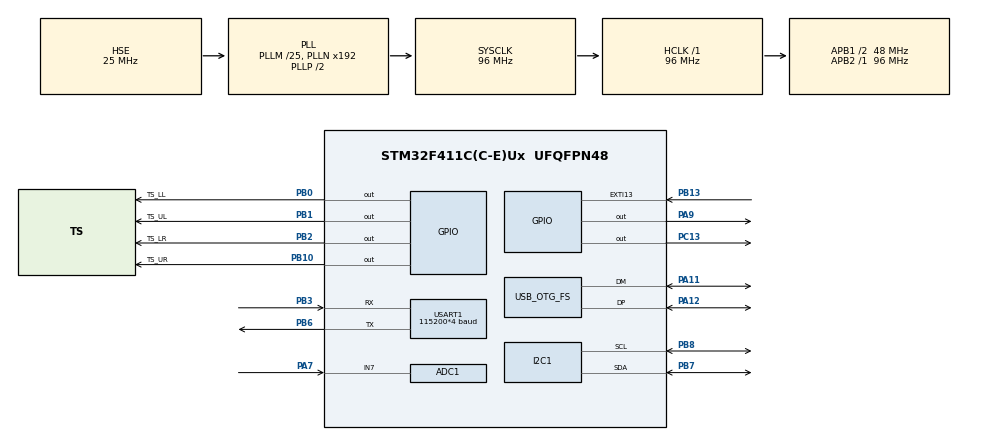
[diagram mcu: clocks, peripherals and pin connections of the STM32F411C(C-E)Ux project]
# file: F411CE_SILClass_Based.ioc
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ADC1.Channel-1\#ChannelRegularConversion=ADC_CHANNEL_7
ADC1.ContinuousConvMode=ENABLE
ADC1.DMAContinuousRequests=ENABLE
ADC1.EOCSelection=ADC_EOC_SEQ_CONV
ADC1.NbrOfConversion=1
ADC1.NbrOfConversionFlag=1
ADC1.Rank-1\#ChannelRegularConversion=1
ADC1.SamplingTime-1\#ChannelRegularConversion=ADC_SAMPLETIME_3CYCLES
ADC1.master=1
Dma.ADC1.2.Direction=DMA_PERIPH_TO_MEMORY
Dma.ADC1.2.FIFOMode=DMA_FIFOMODE_DISABLE
Dma.ADC1.2.Instance=DMA2_Stream0
Dma.ADC1.2.MemDataAlignment=DMA_MDATAALIGN_HALFWORD
Dma.ADC1.2.MemInc=DMA_MINC_ENABLE
Dma.ADC1.2.Mode=DMA_NORMAL
Dma.ADC1.2.PeriphDataAlignment=DMA_PDATAALIGN_HALFWORD
Dma.ADC1.2.PeriphInc=DMA_PINC_DISABLE
Dma.ADC1.2.Priority=DMA_PRIORITY_LOW
Dma.I2C1_RX.1.Direction=DMA_PERIPH_TO_MEMORY
Dma.I2C1_RX.1.FIFOMode=DMA_FIFOMODE_DISABLE
Dma.I2C1_RX.1.Instance=DMA1_Stream0
Dma.I2C1_RX.1.MemDataAlignment=DMA_MDATAALIGN_BYTE
Dma.I2C1_RX.1.MemInc=DMA_MINC_ENABLE
Dma.I2C1_RX.1.Mode=DMA_NORMAL
Dma.I2C1_RX.1.PeriphDataAlignment=DMA_PDATAALIGN_BYTE
Dma.I2C1_RX.1.PeriphInc=DMA_PINC_DISABLE
Dma.I2C1_RX.1.Priority=DMA_PRIORITY_LOW
Dma.Request0=USART1_TX
Dma.Request1=I2C1_RX
Dma.Request2=ADC1
Dma.USART1_TX.0.Direction=DMA_MEMORY_TO_PERIPH
Dma.USART1_TX.0.FIFOMode=DMA_FIFOMODE_DISABLE
Dma.USART1_TX.0.Instance=DMA2_Stream7
Dma.USART1_TX.0.MemDataAlignment=DMA_MDATAALIGN_BYTE
Dma.USART1_TX.0.MemInc=DMA_MINC_ENABLE
Dma.USART1_TX.0.Mode=DMA_NORMAL
Dma.USART1_TX.0.PeriphDataAlignment=DMA_PDATAALIGN_BYTE
Dma.USART1_TX.0.PeriphInc=DMA_PINC_DISABLE
Dma.USART1_TX.0.Priority=DMA_PRIORITY_VERY_HIGH
Mcu.Family=STM32F4
Mcu.Name=STM32F411C(C-E)Ux
Mcu.Package=UFQFPN48
NVIC.DMA1_Stream0_IRQn=true\:0\:0\:false\:false\:true\:false\:true
NVIC.DMA2_Stream0_IRQn=true\:0\:0\:false\:false\:true\:false\:true
NVIC.DMA2_Stream7_IRQn=true\:0\:0\:false\:false\:true\:false\:true
NVIC.EXTI15_10_IRQn=true\:1\:0\:true\:false\:true\:true\:true
NVIC.I2C1_ER_IRQn=true\:0\:0\:false\:false\:true\:true\:true
NVIC.I2C1_EV_IRQn=true\:0\:0\:true\:false\:true\:true\:true
NVIC.OTG_FS_IRQn=true\:0\:0\:false\:false\:true\:false\:true
NVIC.PriorityGroup=NVIC_PRIORITYGROUP_4
NVIC.TIM1_TRG_COM_TIM11_IRQn=true\:0\:0\:false\:false\:true\:true\:true
NVIC.TIM1_UP_TIM10_IRQn=true\:3\:0\:true\:false\:true\:true\:true
NVIC.USART1_IRQn=true\:1\:0\:true\:false\:true\:true\:true
PA11.Mode=Device_Only
PA11.Signal=USB_OTG_FS_DM
PA12.Mode=Device_Only
PA12.Signal=USB_OTG_FS_DP
PA13.Mode=Serial_Wire
PA13.Signal=SYS_JTMS-SWDIO
PA14.Mode=Serial_Wire
PA14.Signal=SYS_JTCK-SWCLK
PA7.Signal=ADCx_IN7
PA9.Signal=GPIO_Output
PB0.GPIO_Label=TS_LL
PB0.Signal=GPIO_Output
PB1.GPIO_Label=TS_UL
PB1.Signal=GPIO_Output
PB10.GPIO_Label=TS_UR
PB10.Signal=GPIO_Output
PB13.GPIO_ModeDefaultEXTI=GPIO_MODE_IT_FALLING
PB13.GPIO_PuPd=GPIO_PULLDOWN
PB13.Signal=GPXTI13
PB2.GPIO_Label=TS_LR
PB2.Signal=GPIO_Output
PB3.Mode=Asynchronous
PB3.Signal=USART1_RX
PB6.Mode=Asynchronous
PB6.Signal=USART1_TX
PB7.Mode=I2C
PB7.Signal=I2C1_SDA
PB8.Mode=I2C
PB8.Signal=I2C1_SCL
PC13-ANTI_TAMP.Signal=GPIO_Output
PH0\ -\ OSC_IN.Mode=HSE-External-Oscillator
PH0\ -\ OSC_IN.Signal=RCC_OSC_IN
PH1\ -\ OSC_OUT.Mode=HSE-External-Oscillator
PH1\ -\ OSC_OUT.Signal=RCC_OSC_OUT
ProjectManager.HeapSize=0x200
ProjectManager.StackSize=0x400
ProjectManager.TargetToolchain=STM32CubeIDE
RCC.48MHZClocksFreq_Value=48000000
RCC.AHBFreq_Value=96000000
RCC.APB1CLKDivider=RCC_HCLK_DIV2
RCC.APB1Freq_Value=48000000
RCC.APB1TimFreq_Value=96000000
RCC.APB2Freq_Value=96000000
RCC.APB2TimFreq_Value=96000000
RCC.CortexFreq_Value=96000000
RCC.HCLKFreq_Value=96000000
RCC.HSE_VALUE=25000000
RCC.HSI_VALUE=16000000
RCC.LSE_VALUE=32768
RCC.PLLM=25
RCC.SYSCLKFreq_VALUE=96000000
RCC.SYSCLKSource=RCC_SYSCLKSOURCE_PLLCLK
RCC.VCOOutputFreq_Value=192000000
SH.ADCx_IN7.0=ADC1_IN7,IN7
TIM10.Period=150-1
TIM10.Prescaler=96-1
TIM11.Period=10000 - 1
TIM11.Prescaler=96 - 1
TIM9.Prescaler=96-1
USART1.BaudRate=115200*4
USART1.VirtualMode=VM_ASYNC
USB_DEVICE.CLASS_NAME_FS=CDC
USB_DEVICE.VirtualMode=Cdc
USB_DEVICE.VirtualModeFS=Cdc_FS
USB_OTG_FS.VirtualMode=Device_Only
VP_TIM10_VS_ClockSourceINT.Mode=Enable_Timer
VP_TIM11_VS_ClockSourceINT.Mode=Enable_Timer
VP_TIM5_VS_ClockSourceINT.Mode=Internal
VP_TIM9_VS_ClockSourceINT.Mode=Internal
VP_USB_DEVICE_VS_USB_DEVICE_CDC_FS.Mode=CDC_FS
board=custom

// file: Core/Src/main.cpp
/* USER CODE BEGIN Header */
/**
  ******************************************************************************
  * @file           : main.c
  * @brief          : Main program body
  ******************************************************************************
  * @attention
  *
  * Copyright (c) 2022 STMicroelectronics.
  * All rights reserved.
  *
  * This software is licensed under terms that can be found in the LICENSE file
  * in the root directory of this software component.
  * If no LICENSE file comes with this software, it is provided AS-IS.
  *
  ******************************************************************************
  */
/* USER CODE END Header */
#include "main.h"
#include "usb_device.h"
/* USER CODE BEGIN Includes */

//Official Libraries
#include <iostream>
using namespace std;
#include <math.h>

//Driver Files
#include "IMUDriver.hpp"
#include "TouchscreenDriver.hpp"

/* USER CODE END Includes */

/* USER CODE BEGIN PD */

// Touchscreen Definitions:
#define Pin_LL GPIO_PIN_0
#define Port_LL GPIOB

#define Pin_UL GPIO_PIN_1
#define Port_UL GPIOB

#define Pin_LR GPIO_PIN_2
#define Port_LR GPIOB

#define Pin_UR GPIO_PIN_10
#define Port_UR GPIOB

/* USER CODE END PD */

ADC_HandleTypeDef hadc1;
DMA_HandleTypeDef hdma_adc1;

I2C_HandleTypeDef hi2c1;
DMA_HandleTypeDef hdma_i2c1_rx;

TIM_HandleTypeDef htim5;
TIM_HandleTypeDef htim9;
TIM_HandleTypeDef htim10;
TIM_HandleTypeDef htim11;

UART_HandleTypeDef huart1;
DMA_HandleTypeDef hdma_usart1_tx;
DMA_HandleTypeDef hdma_usart1_rx;

void SystemClock_Config(void);
static void MX_GPIO_Init(void);
static void MX_USART1_UART_Init(void);
static void MX_ADC1_Init(void);
static void MX_I2C1_Init(void);
static void MX_TIM11_Init(void);
static void MX_TIM9_Init(void);
static void MX_TIM5_Init(void);
static void MX_DMA_Init(void);
static void MX_TIM10_Init(void);
/* USER CODE BEGIN PFP */
void UserInterface(void);
void CommunicationResponse(float xposTS, float xvelTS, float yposTS, float yvelTS, float IMUx, float GyroX,
						   float IMUy, float GyroY);
/* USER CODE END PFP */

/* USER CODE BEGIN 0 */
namespace GlobalVars
{
	//Logic Flags:
	uint8_t mainstate = 0;
	uint8_t timeconsistency = 0; //Timing check
	uint8_t IMUflg = 0;
	uint8_t RunState = 0;

	//System:
	float m0tor = 0; //Values that
	float m1tor = 0;

	//Encoder Zero Position
	float enc_axis0zero = 0;
	float enc_axis1zero = 0;

}

// Communication variables
extern uint8_t buffer[64]; //receive buffer from USB
char UARTstr[64] = {0}; //for messages to send through UART
char strUSB[100] = {0}; //for messages to send through UART
char message[64] = {0}; //for message to send to PC

//Define array of touchscreen pins required:
static uint32_t pinarray[] = {Pin_LL, Pin_UL, Pin_LR, Pin_UR, GPIO_PIN_13};
static GPIO_TypeDef* pinport[] = {Port_LL, Port_UL, Port_LR, Port_UR, GPIOC};

//Initialize IMU Class
IMUDriver imu (&hi2c1, &htim11);

//Initialize Touchscreen Class
TouchscreenDriver TS (&hadc1, &htim10, &htim9, pinarray, pinport); //try passing handlers into class

/* USER CODE END 0 */

int main(void)
{

  /* MCU Configuration--------------------------------------------------------*/

  /* Reset of all peripherals, Initializes the Flash interface and the Systick. */
  HAL_Init();

  /* Configure the system clock */
  SystemClock_Config();

  /* Initialize all configured peripherals */
  MX_GPIO_Init();
  MX_USB_DEVICE_Init();
  MX_DMA_Init();
  MX_USART1_UART_Init();
  MX_ADC1_Init();
  MX_I2C1_Init();
  MX_TIM11_Init();
  MX_TIM9_Init();
  MX_TIM5_Init();
  MX_TIM10_Init();
  /* USER CODE BEGIN 2 */

  HAL_Delay(5000); //For debugging

  //Initialize IMU Class
  imu.Initialization();

  //Run User Interface Code until platform is ready to operate (while loop inside):
  UserInterface();

  //Initialize Touchscreen Class
  TS.Initialization();

  /* USER CODE END 2 */

  /* Infinite loop */
  /* USER CODE BEGIN WHILE */
  while (1)
  {

	  //Test for ADC buf handling
	  if(TS.tsflg == 1)
	  {
		  TS.ProcessPositionData();
		  TS.tsflg = 0;
	  }

	  /* USER CODE END WHILE */

  }
}

void SystemClock_Config(void)
{
  RCC_OscInitTypeDef RCC_OscInitStruct = {0};
  RCC_ClkInitTypeDef RCC_ClkInitStruct = {0};

  /** Configure the main internal regulator output voltage
  */
  __HAL_RCC_PWR_CLK_ENABLE();
  __HAL_PWR_VOLTAGESCALING_CONFIG(PWR_REGULATOR_VOLTAGE_SCALE1);
  /** Initializes the RCC Oscillators according to the specified parameters
  * in the RCC_OscInitTypeDef structure.
  */
  RCC_OscInitStruct.OscillatorType = RCC_OSCILLATORTYPE_HSE;
  RCC_OscInitStruct.HSEState = RCC_HSE_ON;
  RCC_OscInitStruct.PLL.PLLState = RCC_PLL_ON;
  RCC_OscInitStruct.PLL.PLLSource = RCC_PLLSOURCE_HSE;
  RCC_OscInitStruct.PLL.PLLM = 25;
  RCC_OscInitStruct.PLL.PLLN = 192;
  RCC_OscInitStruct.PLL.PLLP = RCC_PLLP_DIV2;
  RCC_OscInitStruct.PLL.PLLQ = 4;
  if (HAL_RCC_OscConfig(&RCC_OscInitStruct) != HAL_OK)
  {
    Error_Handler();
  }
  /** Initializes the CPU, AHB and APB buses clocks
  */
  RCC_ClkInitStruct.ClockType = RCC_CLOCKTYPE_HCLK|RCC_CLOCKTYPE_SYSCLK
                              |RCC_CLOCKTYPE_PCLK1|RCC_CLOCKTYPE_PCLK2;
  RCC_ClkInitStruct.SYSCLKSource = RCC_SYSCLKSOURCE_PLLCLK;
  RCC_ClkInitStruct.AHBCLKDivider = RCC_SYSCLK_DIV1;
  RCC_ClkInitStruct.APB1CLKDivider = RCC_HCLK_DIV2;
  RCC_ClkInitStruct.APB2CLKDivider = RCC_HCLK_DIV1;

  if (HAL_RCC_ClockConfig(&RCC_ClkInitStruct, FLASH_LATENCY_3) != HAL_OK)
  {
    Error_Handler();
  }
}

static void MX_ADC1_Init(void)
{

	  ADC_ChannelConfTypeDef sConfig = {0};

	  /** Configure the global features of the ADC (Clock, Resolution, Data Alignment and number of conversion)
	  */
	  hadc1.Instance = ADC1;
	  hadc1.Init.ClockPrescaler = ADC_CLOCK_SYNC_PCLK_DIV4;
	  hadc1.Init.Resolution = ADC_RESOLUTION_12B;
	  hadc1.Init.ScanConvMode = DISABLE;
	  hadc1.Init.ContinuousConvMode = ENABLE;
	  hadc1.Init.DiscontinuousConvMode = DISABLE;
	  hadc1.Init.ExternalTrigConvEdge = ADC_EXTERNALTRIGCONVEDGE_NONE;
	  hadc1.Init.ExternalTrigConv = ADC_SOFTWARE_START;
	  hadc1.Init.DataAlign = ADC_DATAALIGN_RIGHT;
	  hadc1.Init.NbrOfConversion = 1;
	  hadc1.Init.DMAContinuousRequests = ENABLE;
	  hadc1.Init.EOCSelection = ADC_EOC_SEQ_CONV;
	  if (HAL_ADC_Init(&hadc1) != HAL_OK)
	  {
	    Error_Handler();
	  }
	  /** Configure for the selected ADC regular channel its corresponding rank in the sequencer and its sample time.
	  */
	  sConfig.Channel = ADC_CHANNEL_7;
	  sConfig.Rank = 1;
	  sConfig.SamplingTime = ADC_SAMPLETIME_3CYCLES;
	  if (HAL_ADC_ConfigChannel(&hadc1, &sConfig) != HAL_OK)
	  {
	    Error_Handler();
	  }

}

static void MX_I2C1_Init(void)
{

  hi2c1.Instance = I2C1;
  hi2c1.Init.ClockSpeed = 100000;
  hi2c1.Init.DutyCycle = I2C_DUTYCYCLE_2;
  hi2c1.Init.OwnAddress1 = 0;
  hi2c1.Init.AddressingMode = I2C_ADDRESSINGMODE_7BIT;
  hi2c1.Init.DualAddressMode = I2C_DUALADDRESS_DISABLE;
  hi2c1.Init.OwnAddress2 = 0;
  hi2c1.Init.GeneralCallMode = I2C_GENERALCALL_DISABLE;
  hi2c1.Init.NoStretchMode = I2C_NOSTRETCH_DISABLE;
  if (HAL_I2C_Init(&hi2c1) != HAL_OK)
  {
    Error_Handler();
  }

}

static void MX_TIM5_Init(void)
{

  TIM_ClockConfigTypeDef sClockSourceConfig = {0};
  TIM_MasterConfigTypeDef sMasterConfig = {0};

  htim5.Instance = TIM5;
  htim5.Init.Prescaler = 0;
  htim5.Init.CounterMode = TIM_COUNTERMODE_UP;
  htim5.Init.Period = 4294967295;
  htim5.Init.ClockDivision = TIM_CLOCKDIVISION_DIV1;
  htim5.Init.AutoReloadPreload = TIM_AUTORELOAD_PRELOAD_DISABLE;
  if (HAL_TIM_Base_Init(&htim5) != HAL_OK)
  {
    Error_Handler();
  }
  sClockSourceConfig.ClockSource = TIM_CLOCKSOURCE_INTERNAL;
  if (HAL_TIM_ConfigClockSource(&htim5, &sClockSourceConfig) != HAL_OK)
  {
    Error_Handler();
  }
  sMasterConfig.MasterOutputTrigger = TIM_TRGO_RESET;
  sMasterConfig.MasterSlaveMode = TIM_MASTERSLAVEMODE_DISABLE;
  if (HAL_TIMEx_MasterConfigSynchronization(&htim5, &sMasterConfig) != HAL_OK)
  {
    Error_Handler();
  }

}

static void MX_TIM9_Init(void)
{

  TIM_ClockConfigTypeDef sClockSourceConfig = {0};

  htim9.Instance = TIM9;
  htim9.Init.Prescaler = 96-1;
  htim9.Init.CounterMode = TIM_COUNTERMODE_UP;
  htim9.Init.Period = 65535;
  htim9.Init.ClockDivision = TIM_CLOCKDIVISION_DIV1;
  htim9.Init.AutoReloadPreload = TIM_AUTORELOAD_PRELOAD_DISABLE;
  if (HAL_TIM_Base_Init(&htim9) != HAL_OK)
  {
    Error_Handler();
  }
  sClockSourceConfig.ClockSource = TIM_CLOCKSOURCE_INTERNAL;
  if (HAL_TIM_ConfigClockSource(&htim9, &sClockSourceConfig) != HAL_OK)
  {
    Error_Handler();
  }

}

static void MX_TIM10_Init(void)
{

  htim10.Instance = TIM10;
  htim10.Init.Prescaler = 96-1;
  htim10.Init.CounterMode = TIM_COUNTERMODE_UP;
  htim10.Init.Period = 150-1;
  htim10.Init.ClockDivision = TIM_CLOCKDIVISION_DIV1;
  htim10.Init.AutoReloadPreload = TIM_AUTORELOAD_PRELOAD_DISABLE;
  if (HAL_TIM_Base_Init(&htim10) != HAL_OK)
  {
    Error_Handler();
  }

}

static void MX_TIM11_Init(void)
{

  htim11.Instance = TIM11;
  htim11.Init.Prescaler = 96 - 1;
  htim11.Init.CounterMode = TIM_COUNTERMODE_UP;
  htim11.Init.Period = 10000 - 1;
  htim11.Init.ClockDivision = TIM_CLOCKDIVISION_DIV1;
  htim11.Init.AutoReloadPreload = TIM_AUTORELOAD_PRELOAD_DISABLE;
  if (HAL_TIM_Base_Init(&htim11) != HAL_OK)
  {
    Error_Handler();
  }

}

static void MX_USART1_UART_Init(void)
{

  huart1.Instance = USART1;
  huart1.Init.BaudRate = 115200;
  huart1.Init.WordLength = UART_WORDLENGTH_8B;
  huart1.Init.StopBits = UART_STOPBITS_1;
  huart1.Init.Parity = UART_PARITY_NONE;
  huart1.Init.Mode = UART_MODE_TX_RX;
  huart1.Init.HwFlowCtl = UART_HWCONTROL_NONE;
  huart1.Init.OverSampling = UART_OVERSAMPLING_16;
  if (HAL_UART_Init(&huart1) != HAL_OK)
  {
    Error_Handler();
  }

}

static void MX_DMA_Init(void)
{

	/* DMA controller clock enable */
	__HAL_RCC_DMA2_CLK_ENABLE();
	__HAL_RCC_DMA1_CLK_ENABLE();

	/* DMA interrupt init */
	/* DMA1_Stream0_IRQn interrupt configuration */
	HAL_NVIC_SetPriority(DMA1_Stream0_IRQn, 0, 0);
	HAL_NVIC_EnableIRQ(DMA1_Stream0_IRQn);
	/* DMA2_Stream0_IRQn interrupt configuration */
	HAL_NVIC_SetPriority(DMA2_Stream0_IRQn, 0, 0);
	HAL_NVIC_EnableIRQ(DMA2_Stream0_IRQn);
	/* DMA2_Stream7_IRQn interrupt configuration */
	HAL_NVIC_SetPriority(DMA2_Stream7_IRQn, 0, 0);
	HAL_NVIC_EnableIRQ(DMA2_Stream7_IRQn);

}

static void MX_GPIO_Init(void)
{
  GPIO_InitTypeDef GPIO_InitStruct = {0};

  /* GPIO Ports Clock Enable */
  __HAL_RCC_GPIOC_CLK_ENABLE();
  __HAL_RCC_GPIOH_CLK_ENABLE();
  __HAL_RCC_GPIOA_CLK_ENABLE();
  __HAL_RCC_GPIOB_CLK_ENABLE();

  /*Configure GPIO pin Output Level */
  HAL_GPIO_WritePin(GPIOC, GPIO_PIN_13, GPIO_PIN_SET);

  /*Configure GPIO pin Output Level */
  HAL_GPIO_WritePin(GPIOB, GPIO_PIN_0|GPIO_PIN_1|GPIO_PIN_2|GPIO_PIN_10, GPIO_PIN_RESET);

  /*Configure GPIO pin Output Level */
  HAL_GPIO_WritePin(GPIOA, GPIO_PIN_9, GPIO_PIN_RESET);

  /*Configure GPIO pin : PC13 */
  GPIO_InitStruct.Pin = GPIO_PIN_13;
  GPIO_InitStruct.Mode = GPIO_MODE_OUTPUT_PP;
  GPIO_InitStruct.Pull = GPIO_NOPULL;
  GPIO_InitStruct.Speed = GPIO_SPEED_FREQ_LOW;
  HAL_GPIO_Init(GPIOC, &GPIO_InitStruct);

  /*Configure GPIO pins : PB0 PB1 PB2 PB10 */
  GPIO_InitStruct.Pin = GPIO_PIN_0|GPIO_PIN_1|GPIO_PIN_2|GPIO_PIN_10;
  GPIO_InitStruct.Mode = GPIO_MODE_OUTPUT_PP;
  GPIO_InitStruct.Pull = GPIO_NOPULL;
  GPIO_InitStruct.Speed = GPIO_SPEED_FREQ_LOW;
  HAL_GPIO_Init(GPIOB, &GPIO_InitStruct);

  /*Configure GPIO pin : PB13 */
  GPIO_InitStruct.Pin = GPIO_PIN_13;
  GPIO_InitStruct.Mode = GPIO_MODE_IT_FALLING;
  GPIO_InitStruct.Pull = GPIO_PULLDOWN;
  HAL_GPIO_Init(GPIOB, &GPIO_InitStruct);

  /*Configure GPIO pin : PA9 */
  GPIO_InitStruct.Pin = GPIO_PIN_9;
  GPIO_InitStruct.Mode = GPIO_MODE_OUTPUT_PP;
  GPIO_InitStruct.Pull = GPIO_NOPULL;
  GPIO_InitStruct.Speed = GPIO_SPEED_FREQ_LOW;
  HAL_GPIO_Init(GPIOA, &GPIO_InitStruct);

  /* EXTI interrupt init*/
  HAL_NVIC_SetPriority(EXTI15_10_IRQn, 1, 0);
  HAL_NVIC_EnableIRQ(EXTI15_10_IRQn);

}

/* USER CODE BEGIN 4 */

//==============Callbacks=================//

//Timer channel callbacks for Touchscreen Settling Time Delay (100-150 us) and IMU Refresh Rate Delay (10 ms)
void HAL_TIM_PeriodElapsedCallback(TIM_HandleTypeDef *htim)
{
	//Touchscreen Switching Interrupt
	if(htim == &htim10)
	{
		TS.TIM_Callback();
	}
	else if(htim == &htim11) //IMU Timing Interrupt
	{
		imu.PollOrientation();
	}

}

// Called when ADC buffer is completely filled
void HAL_ADC_ConvCpltCallback(ADC_HandleTypeDef* hadc) {

	if(hadc == &hadc1)
	{
		//Toggle the touchscreen to read the opposite direction (x->y or y->x)
		TS.ADC_Callback();
	}

}

//Called when USB buffer receives value from MATLAB script
void HAL_GPIO_EXTI_Callback(uint16_t GPIO_Pin)
{
	if(GlobalVars::RunState == 0)
	{
		//Do Nothing
	}
	else
	{
		CommunicationResponse(TS.xpos, TS.xvel, TS.ypos, TS.yvel, imu.EulerX, imu.AngularVelX, imu.EulerY, imu.AngularVelY);
	}

}

//Called when I2C completed.
void HAL_I2C_MemRxCpltCallback(I2C_HandleTypeDef *hi2c)
{

	imu.ConvertOrientation(); //Attempt this

}

//===================Additional Functions======================//

void CommunicationResponse(float xposTS, float xvelTS, float yposTS, float yvelTS, float IMUx, float GyroX,
						   float IMUy, float GyroY)
{
	// For processing string
	static char delim[] = " ";
	char *ptr;

	char ODrivemessage[100] = {0}; //Messages that need to be sent to the ODrive

	if (buffer[0] == 'r') //Check if received reset command from host
	{

		memset(buffer, '\0', 64);  // clear the buffer for next message

		//=====Remove errors on each axis for endstop
		sprintf(ODrivemessage, "w axis0.error 0\nw axis1.error 0\n"); //Clear ODrive errors that could have occurred from endstop.
		ODrivemessage[strlen(ODrivemessage)+1] = '\0';
		HAL_UART_Transmit_DMA(&huart1,(uint8_t *) ODrivemessage, strlen(ODrivemessage)); //Transmit Message over UART

		HAL_Delay(10); //Give time to process commands

		//=====Put each axis into position control mode
		sprintf(ODrivemessage, "w axis0.controller.config.control_mode 3\naxis1.controller.config.control_mode 3\n"); //Clear ODrive errors that could have occurred from endstop.
		ODrivemessage[strlen(ODrivemessage)+1] = '\0';
		HAL_UART_Transmit_DMA(&huart1,(uint8_t *) ODrivemessage, strlen(ODrivemessage)); //Transmit Message over UART

		HAL_Delay(10); //Give time to process commands

		//Start closed-loop control
		sprintf(ODrivemessage, "w axis0.requested_state 8\nw axis1.requested_state 8\n"); //request motor parameters from axis 0
		ODrivemessage[strlen(ODrivemessage)+1] = '\0';
		HAL_UART_Transmit_DMA(&huart1,(uint8_t *) ODrivemessage, strlen(ODrivemessage)); //Transmit Message over UART

		HAL_Delay(5);

		//Set position to zeroed position
		sprintf(ODrivemessage, "q 0 %.4f\nq 1 %.4f\n", GlobalVars::enc_axis0zero, GlobalVars::enc_axis1zero); //request motor parameters from axis 0
		ODrivemessage[strlen(ODrivemessage)+1] = '\0';
		HAL_UART_Transmit_DMA(&huart1,(uint8_t *) ODrivemessage, strlen(ODrivemessage)); //Transmit Message over UART

		CDC_Transmit_FS((uint8_t *) ODrivemessage, strlen(ODrivemessage));

		HAL_Delay(5);

	}
	else
	{

		//============USB SEND FIRST===============//

		if (GlobalVars::timeconsistency == 1) //Verify that MATLAB model and STM32 have full parity (Check to ensure new messages are getting through)
		{
			GlobalVars::timeconsistency = 0;
		} else {
			GlobalVars::timeconsistency = 1;
		}

		//Stretch what an Interrupt can do to see what's possible
		sprintf(strUSB,"%.2f %.2f %.2f %.2f %.2f %.2f %.2f %.2f %u \n",
				xposTS, xvelTS, yposTS, yvelTS, IMUx, GyroX, IMUy,
				GyroY, GlobalVars::timeconsistency);

		strUSB[strlen(strUSB)+1] = '\0'; //ASCII NULL to terminate string
		//
		//	//To get message to have constant length for reliable MATLAB decoding... definitely should change/figure out header
		//	for (int i = strlen(strUSB);i<77;++i)
		//	{
		//		strUSB[i] = ' ';
		//	}
		//
		//	strUSB[77] = '\n';

		CDC_Transmit_FS((uint8_t *) strUSB, strlen(strUSB));

		//============UART SEND============//

		if (buffer[0] != '\0') //Double-Check if USB buffer has received message from Host PC
		{

			memcpy(message,buffer,sizeof(message));

			memset(buffer, '\0', 64);  // clear the buffer for next message

			//Now, process message:

			ptr = strtok(message, delim); //Initial cut, should isolate for first

			GlobalVars::m0tor = atof(ptr); //Double check this is correct due to motor axis change

			ptr = strtok(NULL,delim); //Iterate to next section of message

			GlobalVars::m1tor = atof(ptr); //Save second space-separated part of string to double of torque value for potential local processing

			//-------------Now, send message to O-Drive and confirmation to PC:-------------

			sprintf(UARTstr, "c 0 %.4g\nc 1 %.4g\n", GlobalVars::m0tor, GlobalVars::m1tor); //Turn message into torque command (v for velocity, c for current/torque)

			UARTstr[strlen(UARTstr)+1] = '\0';

			HAL_UART_Transmit_DMA(&huart1,(uint8_t *) UARTstr, strlen(UARTstr)); //Transmit Message over UART

		}
	}
}

void UserInterface(void)
{
	//Initialize necessary variables:
	char UXinput = 0;
	uint8_t UXstate = 0;
	uint8_t runstate = 0;
	char ODrivemessage[100] = {0}; //Messages that need to be sent to the ODrive
	char str[200] = {0}; //for messages to send through USB
	char ODriveReceive[50] = {0}; //For receiving messages from O-Drive
	uint8_t UIprint = 1;
	uint8_t waitflg = 0;

	float axis0encpos = 0;
	float axis1encpos = 0;

	float axis0torqueout = 0;
	float axis1torqueout = 0;

	const float axis0torqueconstant = 0.365; // N-m/A
	const float axis1torqueconstant = 0.35; // N-m/A

	// For processing string
	static char delim[] = " ";
	char *ptr;

	while(GlobalVars::RunState == 0)
	{
		if (UXstate == 0) //Initialization of system and handle inputs
		{
			if (UIprint == 1)
			{
				sprintf(str,"Welcome to utilizing the Balancing Platform! What would you like to do?\r\n");
				CDC_Transmit_FS((uint8_t *) str, strlen(str));

				HAL_Delay(5);

				//sprintf(str,"1. Run\n2. Communicate with O-Drive\n3. Calibrate IMU\n4. Calibrate Touchscreen\n");
				sprintf(str,"1. Full Zero Run\r\n2. Bypass Zero Run\r\n");
				CDC_Transmit_FS((uint8_t *) str, strlen(str));

				UIprint = 0;

				HAL_Delay(5000);
			}
		}
		else if (UXstate == 1) //Initialization and Process to Start Platform
		{
			if (runstate == 0) //Initialize platform
			{
				if(UIprint == 1)
				{
					sprintf(str,"Ensure that the platform arms are disconnected. Press c when complete.\r\n");
					CDC_Transmit_FS((uint8_t *) str, strlen(str)); //Transmit Message over UART. NOTE: SWITCH TO CDC TRANSMIT FOR REAL SYSTEM
					UIprint = 0;
				}

				if (waitflg == 0)
				{
					//Do nothing
				}
				else
				{
					waitflg = 0; //Reset for next state
					sprintf(str,"Commutating Motor...\r\n");
					CDC_Transmit_FS((uint8_t *) str, strlen(str)); //Transmit Message over UART. NOTE: SWITCH TO CDC TRANSMIT FOR REAL SYSTEM

					sprintf(ODrivemessage, "w axis0.requested_state 7\nw axis1.requested_state 7\n"); //Turn message into torque command (v for velocity, c for current/torque)
					ODrivemessage[strlen(ODrivemessage)+1] = '\0';
					HAL_UART_Transmit_DMA(&huart1,(uint8_t *) ODrivemessage, strlen(ODrivemessage)); //Transmit Message over UART

					HAL_Delay(10000); //Calibrating state, waiting for completed calibration

					runstate = 1;
					UIprint = 1; //Something to tell when completed here to signal UI print
				}

			}
			else if (runstate == 1)
			{
				if(UIprint == 1)
				{
					waitflg = 0; //Override any previous setting
					sprintf(str,"Motor calibration complete. Please connect the motor arms and stabilize the platform. Send c when complete.\r\n");
					str[strlen(str)+1] = '\0';
					CDC_Transmit_FS((uint8_t *) str, strlen(str)); //Transmit Message over UART
					UIprint = 0;
				}

				if (waitflg == 0)
				{
					//Do nothing
				}
				else
				{
					waitflg = 0; //Reset for next state
					sprintf(str,"Processing...\r\n");
					str[strlen(str)+1] = '\0';
					CDC_Transmit_FS((uint8_t *) str, strlen(str)); //Transmit Message over UART

					UIprint = 1;
					runstate = 2;
				}
			}
			else if (runstate == 2) //setup position control and
			{

				//=====Remove errors on each axis for endstop
				sprintf(ODrivemessage, "w axis0.error 0\nw axis1.error 0\n"); //Clear ODrive errors that could have occurred from endstop.
				ODrivemessage[strlen(ODrivemessage)+1] = '\0';
				HAL_UART_Transmit_DMA(&huart1,(uint8_t *) ODrivemessage, strlen(ODrivemessage)); //Transmit Message over UART

				HAL_Delay(20); //Give time to process commands

				//======Get encoder position for both axes, set the position (in turns) to variables

				//Encoder Axis 0 position
				sprintf(ODrivemessage, "f 0\n"); //request motor parameters from axis 0
				ODrivemessage[strlen(ODrivemessage)+1] = '\0';
				HAL_UART_Transmit_DMA(&huart1,(uint8_t *) ODrivemessage, strlen(ODrivemessage)); //Transmit Message over UART

				HAL_UART_Receive(&huart1,(uint8_t *) ODriveReceive, 16, 50);

				ptr = strtok(ODriveReceive, delim); //Initial cut, should isolate for first

				axis0encpos = atof(ptr); //Double check this is correct due to motor axis change

				HAL_Delay(5);

				//Encoder Axis 1 position
				sprintf(ODrivemessage, "f 1\n"); //request motor parameters from axis 0
				ODrivemessage[strlen(ODrivemessage)+1] = '\0';
				HAL_UART_Transmit_DMA(&huart1,(uint8_t *) ODrivemessage, strlen(ODrivemessage)); //Transmit Message over UART

				HAL_UART_Receive(&huart1,(uint8_t *) ODriveReceive, 16, 10);

				ptr = strtok(ODriveReceive, delim); //Initial cut, should isolate for first

				axis1encpos = atof(ptr); //Double check this is correct due to motor axis change

				HAL_Delay(5);

				//Send command to change position setpoint to existing position
				sprintf(ODrivemessage, "q 0 %.4f\nq 1 %.4f\n", axis0encpos, axis1encpos); //request motor parameters from axis 0
				ODrivemessage[strlen(ODrivemessage)+1] = '\0';
				HAL_UART_Transmit_DMA(&huart1,(uint8_t *) ODrivemessage, strlen(ODrivemessage)); //Transmit Message over UART

				HAL_Delay(5);

				//Start closed-loop control
				sprintf(ODrivemessage, "w axis0.requested_state 8\nw axis1.requested_state 8\n"); //request motor parameters from axis 0
				ODrivemessage[strlen(ODrivemessage)+1] = '\0';
				HAL_UART_Transmit_DMA(&huart1,(uint8_t *) ODrivemessage, strlen(ODrivemessage)); //Transmit Message over UART

				HAL_Delay(5);

				runstate = 3;
			}
			else if (runstate == 3)
			{
				if (UIprint == 1)
				{
					sprintf(str,"Platform is ready to zero. Use the WASD keys to position the top plate and c to complete zeroing process.\r\n");
					str[strlen(str)+1] = '\0';
					CDC_Transmit_FS((uint8_t *) str, strlen(str)); //Transmit Message over USB
					UIprint = 0;
				}

				if (waitflg == 0)
				{
					//Do nothing
				}
				else
				{

					//Get current torque output:

					//Axis 0 Torque Measurement
					sprintf(ODrivemessage, "r axis0.motor.current_control.Iq_measured\n"); //request motor parameters from axis 0
					ODrivemessage[strlen(ODrivemessage)+1] = '\0';
					HAL_UART_Transmit(&huart1,(uint8_t *) ODrivemessage, strlen(ODrivemessage),10); //Transmit Message over UART

					HAL_UART_Receive(&huart1,(uint8_t *) ODriveReceive, 16, 10);

					//ptr = strtok(ODriveReceive, delim); //Initial cut, should isolate for first

					axis0torqueout = atof(ODriveReceive)*axis0torqueconstant; //Double check this is correct due to motor axis change

					HAL_Delay(10);

					//Axis 1 Torque Measurement
					sprintf(ODrivemessage, "r axis1.motor.current_control.Iq_measured\n"); //request motor parameters from axis 0
					ODrivemessage[strlen(ODrivemessage)+1] = '\0';
					HAL_UART_Transmit(&huart1,(uint8_t *) ODrivemessage, strlen(ODrivemessage),10); //Transmit Message over UART

					HAL_UART_Receive(&huart1,(uint8_t *) ODriveReceive, 16, 10);

					//ptr = strtok(ODriveReceive, delim); //Initial cut, should isolate for first

					axis1torqueout = atof(ODriveReceive)*axis1torqueconstant; //Double check this is correct due to motor axis change

					//Process final information for user before starting program.
					waitflg = 0;
					sprintf(str,"Platform is now ready to run. Important System Parameters:\r\n");
					str[strlen(str)+1] = '\0';
					CDC_Transmit_FS((uint8_t *) str, strlen(str)); //Transmit Message over UART

					HAL_Delay(5);

					sprintf(str,"IMUx: %.2f\r\nIMUy: %.2f\r\nAxis0EncoderPos: %.4f\r\nAxis0TorqueOutput: %.4f\r\n",
							imu.EulerX, imu.EulerY, axis0encpos, axis0torqueout);
					str[strlen(str)+1] = '\0';
					CDC_Transmit_FS((uint8_t *) str, strlen(str)); //Transmit Message over UART

					HAL_Delay(5);

					sprintf(str,"Axis1EncoderPos: %.4f\r\nAxis1TorqueOutput: %.4f\r\n",
							axis1encpos, axis1torqueout);
					str[strlen(str)+1] = '\0';
					CDC_Transmit_FS((uint8_t *) str, strlen(str)); //Transmit Message over UART

					HAL_Delay(5);

					sprintf(str,"Please close the serial terminal, wait for 5 seconds, and run the Simulink model.\r\n");
					str[strlen(str)+1] = '\0';
					CDC_Transmit_FS((uint8_t *) str, strlen(str)); //Transmit Message over UART

					// Store encoder position to global variable for reset state
					GlobalVars::enc_axis0zero = axis0encpos;
					GlobalVars::enc_axis1zero = axis1encpos;

					HAL_Delay(2000);

					//Clear buffer and message for next prompt
					memset(buffer, '\0', sizeof(buffer));  // clear the buffer for next message

					GlobalVars::RunState = 1;
				}
			}

		}
		else if (UXstate == 2)
		{
			sprintf(str,"Skipping zeroing process. Please close the serial terminal, wait for 5 seconds, and run the Simulink model.\r\n");
			str[strlen(str)+1] = '\0';
			CDC_Transmit_FS((uint8_t *) str, strlen(str)); //Transmit Message over USB

			//Clear buffer and message for next prompt
			memset(buffer, '\0', sizeof(buffer));  // clear the buffer for next message

			GlobalVars::RunState = 1;
		}

		//====================================================================================
		//Process inputs (same at every state)

		if(buffer[0] == '\0')
		{
			//Do nothing
		}
		else
		{

			UXinput = buffer[0];

			//Try code: https://www.delftstack.com/howto/c/c-string-to-int/
			//UXinput = strtol(message,&ptr,10);

			//Clear buffer and message for next prompt
			memset(buffer, '\0', sizeof(buffer));  // clear the buffer for next message

			switch(UXstate)
			{
			case 0: //For state 1
				switch (UXinput) //Switch case for which UXstate is assigned
				{
				case '1':
					UXstate = 1;
					UIprint = 1;
					break;
				case '2':
					UXstate = 2;
					break;
				default:
					sprintf(str,"Invalid input, please select option through valid digits only.\r\n");
					str[strlen(str)+1] = '\0';
					CDC_Transmit_FS((uint8_t *) str, strlen(str));
					UIprint = 1;
					break;
				}
				break;
			case 1:
				switch(UXinput)
				{
					case 'c':
						waitflg = 1;
						break;
					case 'w':
						//Tilt platform +y
						sprintf(str,"Tilt platform +y\r\n");
						str[strlen(str)+1] = '\0';
						CDC_Transmit_FS((uint8_t *) str, strlen(str));

						axis0encpos -= 0.001;

						sprintf(ODrivemessage, "q 0 %.4f\n", axis0encpos); //request motor parameters from axis 0
						ODrivemessage[strlen(ODrivemessage)+1] = '\0';
						HAL_UART_Transmit_DMA(&huart1,(uint8_t *) ODrivemessage, strlen(ODrivemessage)); //Transmit Message over UART

						HAL_Delay(5);

						break;
					case 'a':
						//Tilt platform -x
						sprintf(str,"Tilt platform -x\r\n");
						str[strlen(str)+1] = '\0';
						CDC_Transmit_FS((uint8_t *) str, strlen(str));

						axis1encpos += 0.001;

						sprintf(ODrivemessage, "q 1 %.4f\n", axis1encpos); //request motor parameters from axis 0
						ODrivemessage[strlen(ODrivemessage)+1] = '\0';
						HAL_UART_Transmit_DMA(&huart1,(uint8_t *) ODrivemessage, strlen(ODrivemessage)); //Transmit Message over UART

						HAL_Delay(5);

						break;
					case 's':
						//Tilt platform -y
						sprintf(str,"Tilt platform -y\r\n");
						str[strlen(str)+1] = '\0';
						CDC_Transmit_FS((uint8_t *) str, strlen(str));

						axis0encpos += 0.001;

						sprintf(ODrivemessage, "q 0 %.4f\n", axis0encpos); //request motor parameters from axis 0
						ODrivemessage[strlen(ODrivemessage)+1] = '\0';
						HAL_UART_Transmit_DMA(&huart1,(uint8_t *) ODrivemessage, strlen(ODrivemessage)); //Transmit Message over UART

						HAL_Delay(5);

						break;
					case 'd':
						//Tilt platform +x
						sprintf(str,"Tilt platform +x\r\n");
						str[strlen(str)+1] = '\0';
						CDC_Transmit_FS((uint8_t *) str, strlen(str));

						axis1encpos -= 0.001;

						sprintf(ODrivemessage, "q 1 %.4f\n", axis1encpos); //request motor parameters from axis 0
						ODrivemessage[strlen(ODrivemessage)+1] = '\0';
						HAL_UART_Transmit_DMA(&huart1,(uint8_t *) ODrivemessage, strlen(ODrivemessage)); //Transmit Message over UART

						HAL_Delay(5);
						break;
					default:
						sprintf(str,"Invalid input, please select option through valid digits only.\r\n");
						CDC_Transmit_FS((uint8_t *) str, strlen(str));
						UIprint = 1;
						break;
				}
				break;
			default:
				sprintf(str,"Error: Invalid State.\r\n");
				CDC_Transmit_FS((uint8_t *) str, strlen(str));
				UIprint = 1;
				UXstate = 0;
				break;
			}

			UXinput = '\0'; //clear handled UX input

		}

	}
}

//======================END===========================//

/* USER CODE END 4 */

void Error_Handler(void)
{
  __disable_irq();
  while (1)
  {
  }
}
